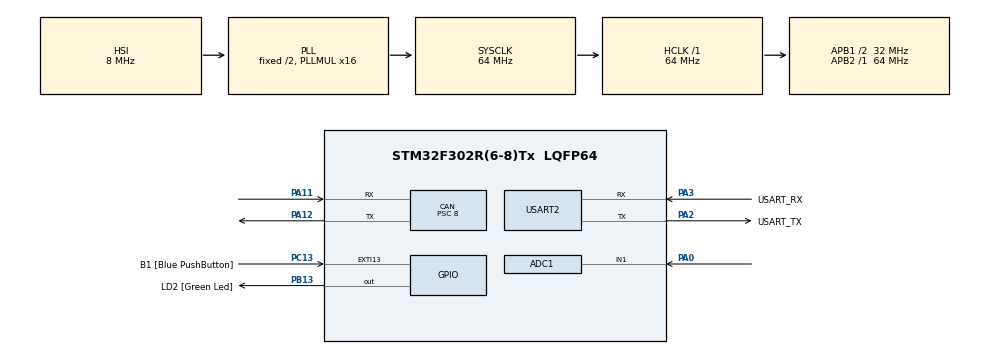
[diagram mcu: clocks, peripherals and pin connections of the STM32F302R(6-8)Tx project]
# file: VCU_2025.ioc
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ADC1.Channel-0\#ChannelRegularConversion=ADC_CHANNEL_1
ADC1.Channel-1\#ChannelRegularConversion=ADC_CHANNEL_1
ADC1.Channel-2\#ChannelRegularConversion=ADC_CHANNEL_1
ADC1.ContinuousConvMode=ENABLE
ADC1.DMAContinuousRequests=ENABLE
ADC1.NbrOfConversion=3
ADC1.NbrOfConversionFlag=1
ADC1.Offset-0\#ChannelRegularConversion=0
ADC1.Offset-1\#ChannelRegularConversion=0
ADC1.Offset-2\#ChannelRegularConversion=0
ADC1.OffsetNumber-0\#ChannelRegularConversion=ADC_OFFSET_NONE
ADC1.OffsetNumber-1\#ChannelRegularConversion=ADC_OFFSET_NONE
ADC1.OffsetNumber-2\#ChannelRegularConversion=ADC_OFFSET_NONE
ADC1.Rank-0\#ChannelRegularConversion=1
ADC1.Rank-1\#ChannelRegularConversion=2
ADC1.Rank-2\#ChannelRegularConversion=3
ADC1.SamplingTime-0\#ChannelRegularConversion=ADC_SAMPLETIME_1CYCLE_5
ADC1.SamplingTime-1\#ChannelRegularConversion=ADC_SAMPLETIME_1CYCLE_5
ADC1.SamplingTime-2\#ChannelRegularConversion=ADC_SAMPLETIME_1CYCLE_5
ADC1.SamplingTimeOPAMP-0\#ChannelRegularConversion=ADC_SAMPLETIME_61CYCLES_5
ADC1.SamplingTimeOPAMP-1\#ChannelRegularConversion=ADC_SAMPLETIME_61CYCLES_5
ADC1.SamplingTimeOPAMP-2\#ChannelRegularConversion=ADC_SAMPLETIME_61CYCLES_5
ADC1.SubFamily=STM32F302x8
ADC1.master=1
CAN.BS1=CAN_BS1_2TQ
CAN.BS2=CAN_BS2_5TQ
CAN.CalculateBaudRate=500000
CAN.CalculateTimeBit=2000
CAN.CalculateTimeQuantum=250.0
CAN.Prescaler=8
Dma.ADC1.0.Direction=DMA_PERIPH_TO_MEMORY
Dma.ADC1.0.Instance=DMA1_Channel1
Dma.ADC1.0.MemDataAlignment=DMA_MDATAALIGN_HALFWORD
Dma.ADC1.0.MemInc=DMA_MINC_ENABLE
Dma.ADC1.0.Mode=DMA_NORMAL
Dma.ADC1.0.PeriphDataAlignment=DMA_PDATAALIGN_HALFWORD
Dma.ADC1.0.PeriphInc=DMA_PINC_DISABLE
Dma.ADC1.0.Priority=DMA_PRIORITY_LOW
Dma.Request0=ADC1
FREERTOS.Tasks01=parked,0,128,parked_init,Default,NULL,Dynamic,NULL,NULL
FREERTOS.configUSE_NEWLIB_REENTRANT=0
Mcu.Family=STM32F3
Mcu.Name=STM32F302R(6-8)Tx
Mcu.Package=LQFP64
NVIC.DMA1_Channel1_IRQn=true\:5\:0\:false\:false\:true\:true\:false\:true\:true
NVIC.PriorityGroup=NVIC_PRIORITYGROUP_4
NVIC.TIM1_UP_TIM16_IRQn=true\:15\:0\:false\:false\:true\:false\:false\:true\:true
NVIC.TimeBase=TIM1_UP_TIM16_IRQn
NVIC.TimeBaseIP=TIM1
NVIC.USB_LP_CAN_RX0_IRQn=true\:5\:0\:false\:false\:true\:true\:true\:true\:true
PA0.Mode=IN1-Single-Ended
PA0.Signal=ADC1_IN1
PA11.GPIO_PuPd=GPIO_PULLUP
PA11.Mode=CAN_Activate
PA11.Signal=CAN_RX
PA12.Mode=CAN_Activate
PA12.Signal=CAN_TX
PA13.GPIO_Label=TMS
PA13.Mode=Serial_Wire
PA13.Signal=SYS_JTMS-SWDIO
PA14.GPIO_Label=TCK
PA14.Mode=Serial_Wire
PA14.Signal=SYS_JTCK-SWCLK
PA2.GPIO_Label=USART_TX
PA2.GPIO_Mode=GPIO_MODE_AF_PP
PA2.GPIO_PuPd=GPIO_NOPULL
PA2.GPIO_Speed=GPIO_SPEED_FREQ_LOW
PA2.Mode=Asynchronous
PA2.Signal=USART2_TX
PA3.GPIO_Label=USART_RX
PA3.GPIO_Mode=GPIO_MODE_AF_PP
PA3.GPIO_PuPd=GPIO_NOPULL
PA3.GPIO_Speed=GPIO_SPEED_FREQ_LOW
PA3.Mode=Asynchronous
PA3.Signal=USART2_RX
PB13.GPIO_Label=LD2 [Green Led]
PB13.Signal=GPIO_Output
PB3.GPIO_Label=SWO
PB3.Mode=Trace_Asynchronous_SW
PB3.Signal=SYS_JTDO-TRACESWO
PC13.GPIO_Label=B1 [Blue PushButton]
PC13.GPIO_ModeDefaultEXTI=GPIO_MODE_IT_FALLING
PC13.Signal=GPXTI13
PC14\ -\ OSC32_IN.Mode=LSE-External-Oscillator
PC14\ -\ OSC32_IN.Signal=RCC_OSC32_IN
PC15\ -\ OSC32_OUT.Mode=LSE-External-Oscillator
PC15\ -\ OSC32_OUT.Signal=RCC_OSC32_OUT
PF0-OSC_IN.Mode=HSE-External-Clock-Source
PF0-OSC_IN.Signal=RCC_OSC_IN
PF1-OSC_OUT.Signal=RCC_OSC_OUT
ProjectManager.HeapSize=0x200
ProjectManager.StackSize=0x400
ProjectManager.TargetToolchain=STM32CubeIDE
RCC.AHBFreq_Value=64000000
RCC.APB1CLKDivider=RCC_HCLK_DIV2
RCC.APB1Freq_Value=32000000
RCC.APB1TimFreq_Value=64000000
RCC.APB2Freq_Value=64000000
RCC.APB2TimFreq_Value=64000000
RCC.CortexFreq_Value=64000000
RCC.HCLKFreq_Value=64000000
RCC.HSE_VALUE=8000000
RCC.HSI_VALUE=8000000
RCC.PLLM=8
RCC.PLLMUL=RCC_PLL_MUL16
RCC.PLLN=336
RCC.PLLP=RCC_PLLP_DIV4
RCC.PLLQ=7
RCC.RCC_PLLsource_Clock_Source_FROM_HSE=RCC_HSE_PREDIV_DIV2
RCC.SYSCLKFreq_VALUE=64000000
RCC.SYSCLKSourceVirtual=RCC_SYSCLKSOURCE_PLLCLK
RCC.USBFreq_Value=64000000
USART2.VirtualMode-Asynchronous=VM_ASYNC
VP_FREERTOS_VS_CMSIS_V1.Mode=CMSIS_V1
VP_SYS_VS_tim1.Mode=TIM1
board=NUCLEO-F302R8

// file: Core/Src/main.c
/* USER CODE BEGIN Header */
/**
 ******************************************************************************
 * @file           : main.c
 * @brief          : Main program body
 ******************************************************************************
 * @attention
 *
 * Copyright (c) 2024 STMicroelectronics.
 * All rights reserved.
 *
 * This software is licensed under terms that can be found in the LICENSE file
 * in the root directory of this software component.
 * If no LICENSE file comes with this software, it is provided AS-IS.
 *
 ******************************************************************************
 */
/* USER CODE END Header */
#include "main.h"
#include "cmsis_os.h"

/* USER CODE BEGIN Includes */
// they're in the main.h file, better methinks
//#include <string.h>
//#include <stdio.h>
//#include <math.h>
//#include "CAN_Transmit.h"
//#include "CAN_Receive.h"
//#include "gearselecttest.h"
//#include "led.h"
/* USER CODE END Includes */

ADC_HandleTypeDef hadc1;
DMA_HandleTypeDef hdma_adc1;

CAN_HandleTypeDef hcan;

UART_HandleTypeDef huart2;

/* USER CODE BEGIN PV */
volatile uint8_t dma_interrupts_enabled = 0; // Flag to control interrupt enabling
#define ADC_BUF_LEN 4
uint16_t adc_buf[ADC_BUF_LEN];

/////////////////////////////////////////////
//CAN variables
osThreadId parkedHandle;
osThreadId canTxTaskHandle;
osThreadId canRxTaskHandle;
osThreadId buttons_100ms_TaskHandle;
osThreadId buttons_500ms_TaskHandle;

QueueHandle_t CANq;

volatile uint8_t datacheck = 0;

void HAL_CAN_RxFifo0MsgPendingCallback(CAN_HandleTypeDef *hcan);

/* USER CODE END PV */

void SystemClock_Config(void);
static void MX_GPIO_Init(void);
static void MX_DMA_Init(void);
static void MX_USART2_UART_Init(void);
static void MX_CAN_Init(void);
static void MX_ADC1_Init(void);
void parked_init(void const *argument);
void can_tx(void const *argument);
void can_rx(void const *argument);

int main(void) {

	/* MCU Configuration--------------------------------------------------------*/

	/* Reset of all peripherals, Initializes the Flash interface and the Systick. */
	HAL_Init();

	/* Configure the system clock */
	SystemClock_Config();

	/* USER CODE BEGIN SysInit */
	CANq = xQueueCreate(50, sizeof(struct CANFrame));

	osThreadDef(parked, parked_init, osPriorityLow, 0, 32);
	parkedHandle = osThreadCreate(osThread(parked), NULL);

	osThreadDef(canTxTask, can_tx, osPriorityHigh, 0, 128);
	canTxTaskHandle = osThreadCreate(osThread(canTxTask), NULL);

	osThreadDef(canRxTask, can_rx, osPriorityHigh, 0, 128);
	canRxTaskHandle = osThreadCreate(osThread(canRxTask), NULL);

	osThreadDef(buttons_task_100ms, buttons_100ms, osPriorityNormal, 0, 64);
	buttons_100ms_TaskHandle = osThreadCreate(osThread(buttons_task_100ms), NULL);

	osThreadDef(buttons_task_500ms, buttons_500ms, osPriorityNormal, 0, 512);
		buttons_500ms_TaskHandle = osThreadCreate(osThread(buttons_task_500ms), NULL);

//	osThreadDef(canRxTask, can_rx, osPriorityNormal, 0, 128);
//		canRxTaskHandle = osThreadCreate(osThread(canRxTask), NULL);
//
//		osThreadId BrakeTaskHandle;
//		osThreadId LeftSignalTaskHandle;
//		osThreadId RightSignalTaskHandle;
//		osThreadId HazardTaskHandle;
	/* USER CODE END SysInit */

	/* Initialize all configured peripherals */
	MX_GPIO_Init();
	MX_ADC1_Init();
	MX_DMA_Init();
	MX_USART2_UART_Init();
	MX_CAN_Init();

	/* USER CODE BEGIN 2 */
	HAL_CAN_Start(&hcan);

	if (HAL_CAN_ActivateNotification(&hcan, CAN_IT_RX_FIFO0_MSG_PENDING)
			!= HAL_OK) {
		Error_Handler();
	}

	HAL_ADC_Start_DMA(&hadc1, (uint32_t*) adc_buf, ADC_BUF_LEN);

	/* USER CODE END 2 */

	/* Create the thread(s) */
	/* definition and creation of parked */

	/* Start scheduler */
	osKernelStart();
	Enable_DMA_Interrupts();

	/* We should never get here as control is now taken by the scheduler */

	/* Infinite loop */
	while (1) {

	}
}

void SystemClock_Config(void) {
	RCC_OscInitTypeDef RCC_OscInitStruct = { 0 };
	RCC_ClkInitTypeDef RCC_ClkInitStruct = { 0 };
	RCC_PeriphCLKInitTypeDef PeriphClkInit = { 0 };

	/** Initializes the RCC Oscillators according to the specified parameters
	 * in the RCC_OscInitTypeDef structure.
	 */
	RCC_OscInitStruct.OscillatorType = RCC_OSCILLATORTYPE_HSI;
	RCC_OscInitStruct.HSIState = RCC_HSI_ON;
	RCC_OscInitStruct.HSICalibrationValue = RCC_HSICALIBRATION_DEFAULT;
	RCC_OscInitStruct.PLL.PLLState = RCC_PLL_ON;
	RCC_OscInitStruct.PLL.PLLSource = RCC_PLLSOURCE_HSI;
	RCC_OscInitStruct.PLL.PLLMUL = RCC_PLL_MUL16;
	if (HAL_RCC_OscConfig(&RCC_OscInitStruct) != HAL_OK) {
		Error_Handler();
	}

	/** Initializes the CPU, AHB and APB buses clocks
	 */
	RCC_ClkInitStruct.ClockType = RCC_CLOCKTYPE_HCLK | RCC_CLOCKTYPE_SYSCLK
			| RCC_CLOCKTYPE_PCLK1 | RCC_CLOCKTYPE_PCLK2;
	RCC_ClkInitStruct.SYSCLKSource = RCC_SYSCLKSOURCE_PLLCLK;
	RCC_ClkInitStruct.AHBCLKDivider = RCC_SYSCLK_DIV1;
	RCC_ClkInitStruct.APB1CLKDivider = RCC_HCLK_DIV2;
	RCC_ClkInitStruct.APB2CLKDivider = RCC_HCLK_DIV1;

	if (HAL_RCC_ClockConfig(&RCC_ClkInitStruct, FLASH_LATENCY_2) != HAL_OK) {
		Error_Handler();
	}
	PeriphClkInit.PeriphClockSelection = RCC_PERIPHCLK_ADC1;
	PeriphClkInit.Adc1ClockSelection = RCC_ADC1PLLCLK_DIV1;

	if (HAL_RCCEx_PeriphCLKConfig(&PeriphClkInit) != HAL_OK) {
		Error_Handler();
	}
}

static void MX_ADC1_Init(void) {

	ADC_ChannelConfTypeDef sConfig = { 0 };
	__HAL_LINKDMA(&hadc1, DMA_Handle, hdma_adc1);

	/** Common config
	 */
	hadc1.Instance = ADC1;
	hadc1.Init.ClockPrescaler = ADC_CLOCK_ASYNC_DIV1;
	hadc1.Init.Resolution = ADC_RESOLUTION_12B;
	hadc1.Init.ScanConvMode = ADC_SCAN_DISABLE;
	hadc1.Init.ContinuousConvMode = ENABLE;
	hadc1.Init.DiscontinuousConvMode = DISABLE;
	hadc1.Init.ExternalTrigConvEdge = ADC_EXTERNALTRIGCONVEDGE_NONE;
	hadc1.Init.ExternalTrigConv = ADC_SOFTWARE_START;
	hadc1.Init.DataAlign = ADC_DATAALIGN_RIGHT;
	hadc1.Init.NbrOfConversion = 1;
	hadc1.Init.DMAContinuousRequests = ENABLE;
	hadc1.Init.EOCSelection = ADC_EOC_SINGLE_CONV;
	hadc1.Init.LowPowerAutoWait = DISABLE;
	hadc1.Init.Overrun = ADC_OVR_DATA_OVERWRITTEN;
	if (HAL_ADC_Init(&hadc1) != HAL_OK) {
		Error_Handler();
	}

	/** Configure Regular Channel
	 */
	sConfig.Channel = ADC_CHANNEL_1;
	sConfig.Rank = ADC_REGULAR_RANK_1;
	sConfig.SingleDiff = ADC_SINGLE_ENDED;
	sConfig.SamplingTime = ADC_SAMPLETIME_2CYCLE_5;
	sConfig.OffsetNumber = ADC_OFFSET_NONE;
	sConfig.Offset = 0;
	if (HAL_ADC_ConfigChannel(&hadc1, &sConfig) != HAL_OK) {
		Error_Handler();
	}

//  /** Configure Regular Channel
//  */
//  sConfig.Rank = ADC_REGULAR_RANK_2;
//  if (HAL_ADC_ConfigChannel(&hadc1, &sConfig) != HAL_OK)
//  {
//    Error_Handler();
//  }
//
//  /** Configure Regular Channel
//  */
//  sConfig.Rank = ADC_REGULAR_RANK_3;
//  if (HAL_ADC_ConfigChannel(&hadc1, &sConfig) != HAL_OK)
//  {
//    Error_Handler();
//  }

}

static void MX_CAN_Init(void) {

	hcan.Instance = CAN;
	hcan.Init.Prescaler = 8;
	hcan.Init.Mode = CAN_MODE_LOOPBACK;
	hcan.Init.SyncJumpWidth = CAN_SJW_1TQ;
	hcan.Init.TimeSeg1 = CAN_BS1_2TQ;
	hcan.Init.TimeSeg2 = CAN_BS2_5TQ;
	hcan.Init.TimeTriggeredMode = DISABLE;
	hcan.Init.AutoBusOff = DISABLE;
	hcan.Init.AutoWakeUp = DISABLE;
	hcan.Init.AutoRetransmission = DISABLE;
	hcan.Init.ReceiveFifoLocked = DISABLE;
	hcan.Init.TransmitFifoPriority = DISABLE;
	if (HAL_CAN_Init(&hcan) != HAL_OK) {
		Error_Handler();
	}
	/* USER CODE BEGIN CAN_Init 2 */

	//Set a up a filter
	//Allow all messages to pass through from any ID
	CAN_FilterTypeDef canfilterconfig;

	canfilterconfig.FilterActivation = ENABLE;
	canfilterconfig.FilterBank = 0;
	canfilterconfig.FilterFIFOAssignment = CAN_FILTER_FIFO0;
	canfilterconfig.FilterIdHigh = 0x0000;
	canfilterconfig.FilterIdLow = 0x0000;
	canfilterconfig.FilterMaskIdHigh = 0x0000;
	canfilterconfig.FilterMaskIdLow = 0x0000;
	canfilterconfig.FilterMode = CAN_FILTERMODE_IDMASK;
	canfilterconfig.FilterScale = CAN_FILTERSCALE_32BIT;
	canfilterconfig.SlaveStartFilterBank = 14;

	HAL_CAN_ConfigFilter(&hcan, &canfilterconfig);

	/* USER CODE END CAN_Init 2 */

}

static void MX_USART2_UART_Init(void) {

	huart2.Instance = USART2;
	huart2.Init.BaudRate = 57600;
	huart2.Init.WordLength = UART_WORDLENGTH_8B;
	huart2.Init.StopBits = UART_STOPBITS_1;
	huart2.Init.Parity = UART_PARITY_NONE;
	huart2.Init.Mode = UART_MODE_TX_RX;
	huart2.Init.HwFlowCtl = UART_HWCONTROL_NONE;
	huart2.Init.OverSampling = UART_OVERSAMPLING_16;
	huart2.Init.OneBitSampling = UART_ONE_BIT_SAMPLE_DISABLE;
	huart2.AdvancedInit.AdvFeatureInit = UART_ADVFEATURE_NO_INIT;
	if (HAL_UART_Init(&huart2) != HAL_OK) {
		Error_Handler();
	}

}

static void MX_DMA_Init(void) {
	/* DMA controller clock enable */
//	__HAL_RCC_DMA1_CLK_ENABLE();
//
//	/* DMA interrupt init */
//	/* DMA1_Channel1_IRQn interrupt configuration */
//	HAL_NVIC_SetPriority(DMA1_Channel1_IRQn, 0, 0);
//	HAL_NVIC_EnableIRQ(DMA1_Channel1_IRQn);
	/* DMA controller clock enable */
	__HAL_RCC_DMA1_CLK_ENABLE();

	/* Configure DMA for ADC1 */
	hdma_adc1.Instance = DMA1_Channel1; // replace if using a different channel
	hdma_adc1.Init.Direction = DMA_PERIPH_TO_MEMORY;
	hdma_adc1.Init.PeriphInc = DMA_PINC_DISABLE;
	hdma_adc1.Init.MemInc = DMA_MINC_ENABLE;
	hdma_adc1.Init.PeriphDataAlignment = DMA_PDATAALIGN_HALFWORD;
	hdma_adc1.Init.MemDataAlignment = DMA_MDATAALIGN_HALFWORD;
	hdma_adc1.Init.Mode = DMA_CIRCULAR; // 🔁 circular buffer
	hdma_adc1.Init.Priority = DMA_PRIORITY_HIGH;

	if (HAL_DMA_Init(&hdma_adc1) != HAL_OK) {
		Error_Handler();
	}

	// Link DMA to ADC
	__HAL_LINKDMA(&hadc1, DMA_Handle, hdma_adc1);

	/* DMA interrupt init */
//    HAL_NVIC_SetPriority(DMA1_Channel1_IRQn, 5, 0);
//    HAL_NVIC_EnableIRQ(DMA1_Channel1_IRQn);
}

static void MX_GPIO_Init(void) {
	GPIO_InitTypeDef GPIO_InitStruct = { 0 };

	/* GPIO Ports Clock Enable */
	__HAL_RCC_GPIOC_CLK_ENABLE();
	__HAL_RCC_GPIOF_CLK_ENABLE();
	__HAL_RCC_GPIOA_CLK_ENABLE();
	__HAL_RCC_GPIOB_CLK_ENABLE();

	/*Configure GPIO pin Output Level */
	HAL_GPIO_WritePin(LD2_GPIO_Port, LD2_Pin, GPIO_PIN_RESET);

	// default pins
	/*Configure GPIO pin : B1_Pin */
	GPIO_InitStruct.Pin = B1_Pin;
	GPIO_InitStruct.Mode = GPIO_MODE_IT_FALLING;
	GPIO_InitStruct.Pull = GPIO_NOPULL;
	HAL_GPIO_Init(B1_GPIO_Port, &GPIO_InitStruct);

	/*Configure GPIO pin : LD2_Pin */
	GPIO_InitStruct.Pin = LD2_Pin;
	GPIO_InitStruct.Mode = GPIO_MODE_OUTPUT_PP;
	GPIO_InitStruct.Pull = GPIO_NOPULL;
	GPIO_InitStruct.Speed = GPIO_SPEED_FREQ_LOW;
	HAL_GPIO_Init(LD2_GPIO_Port, &GPIO_InitStruct);

	/* USER CODE BEGIN MX_GPIO_Init_2 */
	//////////////////////////////////////////
	// Gear selection pins
	/*Configure GPIO pin : Drive_Pin */
	GPIO_InitStruct.Pin = Drive_Pin;
	GPIO_InitStruct.Mode = GPIO_MODE_INPUT;
	GPIO_InitStruct.Pull = GPIO_PULLUP;
	GPIO_InitStruct.Speed = GPIO_SPEED_FREQ_LOW;
	HAL_GPIO_Init(Drive_GPIO_Port, &GPIO_InitStruct);

	/*Configure GPIO pin : Neutral_Pin */
	GPIO_InitStruct.Pin = Neutral_Pin;
	GPIO_InitStruct.Mode = GPIO_MODE_INPUT;
	GPIO_InitStruct.Pull = GPIO_PULLUP;
	GPIO_InitStruct.Speed = GPIO_SPEED_FREQ_LOW;
	HAL_GPIO_Init(GPIOA, &GPIO_InitStruct);

	/*Configure GPIO pin : Reverse_Pin */
	GPIO_InitStruct.Pin = Reverse_Pin;
	GPIO_InitStruct.Mode = GPIO_MODE_INPUT;
	GPIO_InitStruct.Pull = GPIO_PULLUP;
	GPIO_InitStruct.Speed = GPIO_SPEED_FREQ_LOW;
	HAL_GPIO_Init(GPIOA, &GPIO_InitStruct);

	//////////////////////////////////////////
	// Button input pins

	GPIO_InitStruct.Pin = BrakePedal_in_Pin;
	GPIO_InitStruct.Mode = GPIO_MODE_IT_RISING_FALLING;
	GPIO_InitStruct.Pull = GPIO_PULLUP;
	GPIO_InitStruct.Speed = GPIO_SPEED_FREQ_LOW;
	HAL_GPIO_Init(BrakePedal_in_GPIO_Port, &GPIO_InitStruct);

	GPIO_InitStruct.Pin = L_SignalLight_in_Pin;
	GPIO_InitStruct.Mode = GPIO_MODE_IT_RISING_FALLING;
	GPIO_InitStruct.Pull = GPIO_PULLUP;
	GPIO_InitStruct.Speed = GPIO_SPEED_FREQ_LOW;
	HAL_GPIO_Init(L_SignalLight_in_GPIO_Port, &GPIO_InitStruct);

	GPIO_InitStruct.Pin = R_SignalLight_in_Pin;
	GPIO_InitStruct.Mode = GPIO_MODE_IT_RISING_FALLING;
	GPIO_InitStruct.Pull = GPIO_PULLUP;
	GPIO_InitStruct.Speed = GPIO_SPEED_FREQ_LOW;
	HAL_GPIO_Init(R_SignalLight_in_GPIO_Port, &GPIO_InitStruct);

	GPIO_InitStruct.Pin = Hazard_in_Pin;
	GPIO_InitStruct.Mode = GPIO_MODE_IT_RISING_FALLING;
	GPIO_InitStruct.Pull = GPIO_PULLUP;
	GPIO_InitStruct.Speed = GPIO_SPEED_FREQ_LOW;
	HAL_GPIO_Init(Hazard_in_GPIO_Port, &GPIO_InitStruct);

	//////////////////////////////////////////
	// pins providing output to lights
	GPIO_InitStruct.Pin = BrakeLight_out_Pin;
	GPIO_InitStruct.Mode = GPIO_MODE_OUTPUT_PP;
	GPIO_InitStruct.Pull = GPIO_NOPULL;
	GPIO_InitStruct.Speed = GPIO_SPEED_FREQ_LOW;
	HAL_GPIO_Init(BrakeLight_out_GPIO_Port, &GPIO_InitStruct);

	GPIO_InitStruct.Pin = L_SignalLight_out_Pin;
	GPIO_InitStruct.Mode = GPIO_MODE_OUTPUT_PP;
	GPIO_InitStruct.Pull = GPIO_NOPULL;
	GPIO_InitStruct.Speed = GPIO_SPEED_FREQ_LOW;
	HAL_GPIO_Init(L_SignalLight_out_GPIO_Port, &GPIO_InitStruct);

	GPIO_InitStruct.Pin = R_SignalLight_out_Pin;
	GPIO_InitStruct.Mode = GPIO_MODE_OUTPUT_PP;
	GPIO_InitStruct.Pull = GPIO_NOPULL;
	GPIO_InitStruct.Speed = GPIO_SPEED_FREQ_LOW;
	HAL_GPIO_Init(R_SignalLight_out_GPIO_Port, &GPIO_InitStruct);

	GPIO_InitStruct.Pin = DRLLeft_out_Pin;
	GPIO_InitStruct.Mode = GPIO_MODE_OUTPUT_PP;
	GPIO_InitStruct.Pull = GPIO_NOPULL;
	GPIO_InitStruct.Speed = GPIO_SPEED_FREQ_LOW;
	HAL_GPIO_Init(DRLLeft_out_GPIO_Port, &GPIO_InitStruct);

	GPIO_InitStruct.Pin = DRLRight_out_Pin;
	GPIO_InitStruct.Mode = GPIO_MODE_OUTPUT_PP;
	GPIO_InitStruct.Pull = GPIO_NOPULL;
	GPIO_InitStruct.Speed = GPIO_SPEED_FREQ_LOW;
	HAL_GPIO_Init(DRLLeft_out_GPIO_Port, &GPIO_InitStruct);

	////////////////////////////////////////

	/* USER CODE END MX_GPIO_Init_2 */
}

/* USER CODE BEGIN 4 */

/* Enable DMA interrupts after RTOS is running */
void Enable_DMA_Interrupts(void) {
	/* Give time for RTOS to stabilize */
	osDelay(100);

	/* Configure at lowest priority */
	HAL_NVIC_SetPriority(DMA1_Channel1_IRQn, 15, 0); // Lowest priority
	HAL_NVIC_EnableIRQ(DMA1_Channel1_IRQn);

	/* Activate ADC DMA with interrupts */
	HAL_ADC_Start_DMA(&hadc1, (uint32_t*) adc_buf, ADC_BUF_LEN);

	dma_interrupts_enabled = 1;
}

/* Modified DMA IRQ Handler */
void DMA1_Channel1_IRQHandler(void) {
	if (dma_interrupts_enabled) {
		HAL_DMA_IRQHandler(&hdma_adc1);
	}
}

// Called when first half of buffer is filled
// Called when first half of adc_buf is filled (indices 0…ADC_BUF_LEN/2−1)
//void HAL_ADC_ConvHalfCpltCallback(ADC_HandleTypeDef *hadc) {
//    uint32_t sum = 0;
//    for (int i = 0; i < ADC_BUF_LEN/2; i++) {
//        sum += adc_buf[i];
//    }
//    uint32_t avg = sum / (ADC_BUF_LEN/2);
//
//    char msg[32];
//    int len = snprintf(msg, sizeof(msg), "Half avg: %lu\r\n", avg);
//    HAL_UART_Transmit(&huart2, (uint8_t*)msg, len, HAL_MAX_DELAY);
//
//
//    // (Optional) If you want to signal a FreeRTOS task:
//    // BaseType_t xHigherPriorityTaskWoken = pdFALSE;
//    // xSemaphoreGiveFromISR(adcHalfReadySem, &xHigherPriorityTaskWoken);
//    // portYIELD_FROM_ISR(xHigherPriorityTaskWoken);
//}
//
//// Called when the entire adc_buf is filled (indices ADC_BUF_LEN/2…ADC_BUF_LEN−1)
//void HAL_ADC_ConvCpltCallback(ADC_HandleTypeDef *hadc) {
//    uint32_t sum = 0;
//    for (int i = ADC_BUF_LEN/2; i < ADC_BUF_LEN; i++) {
//        sum += adc_buf[i];
//    }
//    uint32_t avg = sum / (ADC_BUF_LEN/2);
//
//    char msg[32];
//    int len = snprintf(msg, sizeof(msg), "Full avg: %lu\r\n", avg);
//    HAL_UART_Transmit(&huart2, (uint8_t*)msg, len, HAL_MAX_DELAY);
//
//    // (Optional) Signal the “second-half ready” if you’ve got a task waiting:
//    // BaseType_t xHigherPriorityTaskWoken = pdFALSE;
//    // xSemaphoreGiveFromISR(adcFullReadySem, &xHigherPriorityTaskWoken);
//    // portYIELD_FROM_ISR(xHigherPriorityTaskWoken);
//}

/* USER CODE END 4 */

void parked_init(void const *argument) {
	for (;;) {
		osDelay(1);
	}
}

void HAL_TIM_PeriodElapsedCallback(TIM_HandleTypeDef *htim) {
	if (htim->Instance == TIM1) {
		HAL_IncTick();
	}
}

void Error_Handler(void) {
	__disable_irq();
	while (1) {
	}
}
